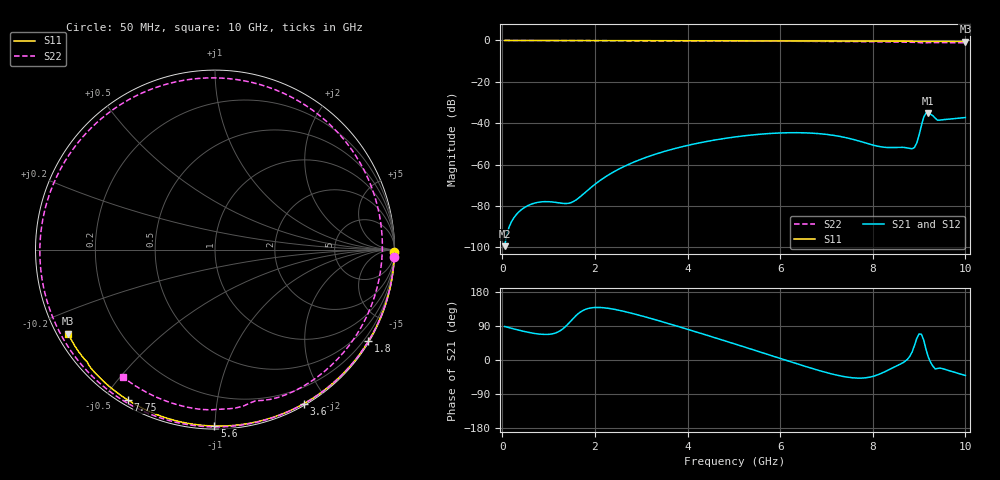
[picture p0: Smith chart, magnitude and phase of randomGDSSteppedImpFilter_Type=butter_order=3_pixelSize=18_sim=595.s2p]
! freq	dB(S11)	phase(S11)	dB(S12)	phase(S12)
!  dB(S21)	phase(S21)	dB(S22)	phase(S22)
!S-par simulation data
#  GHz  S  DB  R 50
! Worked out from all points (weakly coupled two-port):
!   200 points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, 50 MHz to 10 GHz, reference 50 ohm
!   highest |S21| = -35.06 dB at 9.2 GHz (marker M1); lowest = -99.5 dB at 50 MHz (marker M2)
!   lowest |S11| = -0.5 dB at 10 GHz (marker M3), VSWR 34.02, Z = 1.57 - j13.3 ohm
!   |S11| at or under -10 dB: nowhere
!   |S22| runs from -1.2 to 0.0 dB; largest |S21 - S12| = 0
!   S11 on the Smith chart (normalised r, x): 50 MHz: open; 1.8 GHz: 0.03, -3.62; 3.6 GHz: 0.02, -1.73; 5.6 GHz: 0.02, -1.00; 7.75 GHz: 0.02, -0.58; 10 GHz: 0.03, -0.27
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0.05  -0.00 -0.9  -99.46 88.5  -99.46 88.5  -0.00 -2.5
0.95  -0.02 -16.4  -77.92 67.5  -77.92 67.5  -0.06 -45.7
1.45  -0.03 -25.0  -78.63 99.0  -78.63 99.0  -0.08 -68.5
1.75  -0.04 -30.0  -74.25 131.1  -74.25 131.1  -0.10 -81.5
1.8  -0.04 -30.9  -73.28 133.8  -73.28 133.8  -0.10 -83.7
2.5  -0.05 -42.5  -62.39 131.8  -62.39 131.8  -0.13 -112.4
3.4  -0.08 -57.0  -54.32 102.9  -54.32 102.9  -0.17 -146.9
3.6  -0.08 -60.1  -53.01 95.7  -53.01 95.7  -0.18 -154.3
4.35  -0.10 -71.7  -49.10 67.9  -49.10 67.9  -0.22 177.5
5.05  -0.13 -82.2  -46.58 41.3  -46.58 41.3  -0.26 149.9
5.6  -0.15 -90.2  -45.27 19.9  -45.27 19.9  -0.31 126.5
6.2  -0.18 -98.8  -44.60 -3.6  -44.60 -3.6  -0.37 98.1
6.7  -0.21 -105.7  -44.83 -22.7  -44.83 -22.7  -0.42 71.8
7.2  -0.24 -112.6  -46.05 -39.3  -46.05 -39.3  -0.49 43.0
7.75  -0.28 -120.1  -48.91 -47.8  -48.91 -47.8  -0.58 9.0
8.35  -0.33 -128.1  -51.78 -25.6  -51.78 -25.6  -0.71 -29.2
8.9  -0.38 -135.6  -51.76 38.2  -51.76 38.2  -0.91 -63.7
8.95  -0.39 -136.3  -49.57 57.0  -49.57 57.0  -0.96 -66.8
9.1  -0.45 -138.3  -37.11 52.6  -37.11 52.6  -1.19 -74.9
9.2  -0.46 -139.4  -35.06 7.1  -35.06 7.1  -1.05 -79.7
9.4  -0.45 -142.0  -38.56 -22.2  -38.56 -22.2  -0.98 -91.6
10  -0.51 -150.2  -37.25 -40.8  -37.25 -40.8  -1.16 -125.8
